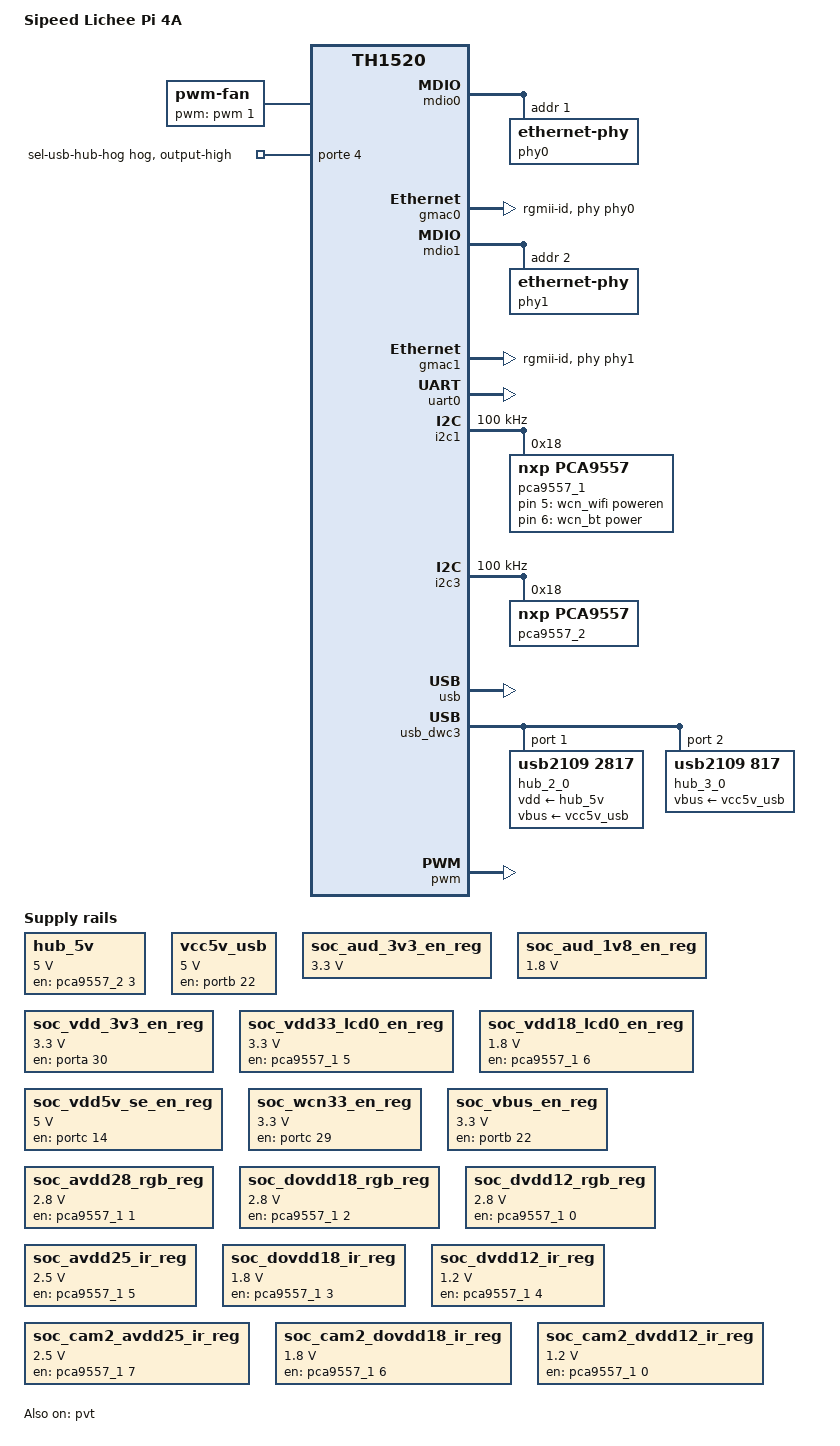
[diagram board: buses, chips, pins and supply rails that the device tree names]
// SPDX-License-Identifier: (GPL-2.0 OR MIT)
/*
 * Copyright (C) 2023 Jisheng Zhang <jszhang@kernel.org>
 */

#include <dt-bindings/gpio/gpio.h>

#include "th1520-lichee-module-4a.dtsi"

/ {
	model = "Sipeed Lichee Pi 4A";
	compatible = "sipeed,lichee-pi-4a", "sipeed,lichee-module-4a", "thead,th1520";

	aliases {
		ethernet0 = &gmac0;
		ethernet1 = &gmac1;
		gpio0 = &gpio0;
		gpio1 = &gpio1;
		gpio2 = &gpio2;
		gpio3 = &gpio3;
		serial0 = &uart0;
		serial1 = &uart1;
		serial2 = &uart2;
		serial3 = &uart3;
		serial4 = &uart4;
		serial5 = &uart5;
		i2c0 = &i2c0;
		i2c1 = &i2c1;
		i2c2 = &i2c2;
		i2c3 = &i2c3;
		i2c4 = &i2c4;
		i2c5 = &audio_i2c0;
		i2c6 = &audio_i2c1;
	};

	chosen {
		stdout-path = "serial0:115200n8";
	};

	fan: pwm-fan {
		compatible = "pwm-fan";
		#cooling-cells = <2>;
		pwms = <&pwm 1 10000000 0>;
		cooling-levels = <0 66 196 255>;
	};

	thermal-zones {
		cpu-thermal {
			polling-delay = <1000>;
			polling-delay-passive = <1000>;
			thermal-sensors = <&pvt 0>;

			trips {
				trip_active0: active-0 {
					temperature = <39000>;
					hysteresis = <5000>;
					type = "active";
				};

				trip_active1: active-1 {
					temperature = <50000>;
					hysteresis = <5000>;
					type = "active";
				};

				trip_active2: active-2 {
					temperature = <60000>;
					hysteresis = <5000>;
					type = "active";
				};
			};

			cooling-maps {
				map-active-0 {
					cooling-device = <&fan 1 1>;
					trip = <&trip_active0>;
				};

				map-active-1 {
					cooling-device = <&fan 2 2>;
					trip = <&trip_active1>;
				};

				map-active-2 {
					cooling-device = <&fan 3 3>;
					trip = <&trip_active2>;
				};
			};
		};
	};

	hub_5v: regulator-hub_5v {
		compatible = "regulator-fixed";
		regulator-name = "HUB_5V";
		regulator-min-microvolt = <5000000>;
		regulator-max-microvolt = <5000000>;
		gpio = <&pca9557_2 3 GPIO_ACTIVE_HIGH>;
		enable-active-high;
		regulator-always-on;
	};

	vcc5v_usb: regulator-vcc5v_usb {
		compatible = "regulator-fixed";
		regulator-name = "VCC5V_USB";
		regulator-min-microvolt = <5000000>;
		regulator-max-microvolt = <5000000>;
		gpio = <&portb 22 GPIO_ACTIVE_HIGH>;
		enable-active-high;
		regulator-always-on;
	};

	wcn_wifi: wireless-wlan {
		compatible = "wlan-platdata";
		clock-names = "clk_wifi";
		ref-clock-frequency = <24000000>;
		keep_wifi_power_on;
		pinctrl-names = "default";
		wifi_chip_type = "rtl8723ds";
		WIFI,poweren_gpio = <&pca9557_1 5 0>;
		status = "okay";
	};

	wcn_bt: wireless-bluetooth {
		compatible = "bluetooth-platdata";
		pinctrl-names = "default", "rts_gpio";
		BT,power_gpio    = <&pca9557_1 6 0>;
		status = "okay";
	};

	aon: aon {
		compatible = "thead,light-aon";
		mbox-names = "aon";
		mboxes = <&mbox_910t 1 0>;
		status = "okay";

		pd: light-aon-pd {
			compatible = "thead,light-aon-pd";
			#power-domain-cells = <1>;
		};

		soc_aud_3v3_en_reg: soc_aud_3v3_en {
			compatible = "regulator-fixed";
			regulator-name = "soc_aud_3v3_en";
			regulator-min-microvolt = <3300000>;
			regulator-max-microvolt = <3300000>;
			enable-active-high;
			regulator-always-on;
		};

		soc_aud_1v8_en_reg: soc_aud_1v8_en {
			compatible = "regulator-fixed";
			regulator-name = "soc_aud_1v8_en";
			regulator-min-microvolt = <1800000>;
			regulator-max-microvolt = <1800000>;
			enable-active-high;
			regulator-always-on;
		};

		soc_vdd_3v3_en_reg: soc_vdd_3v3_en {
			compatible = "regulator-fixed";
			regulator-name = "soc_vdd_3v3_en";
			regulator-min-microvolt = <3300000>;
			regulator-max-microvolt = <3300000>;
			gpio = <&porta 30 1>;
			enable-active-high;
			regulator-always-on;
		};

		soc_vdd33_lcd0_en_reg: soc_lcd0_vdd33_en {
			compatible = "regulator-fixed";
			regulator-name = "soc_lcd0_vdd33_en";
			regulator-min-microvolt = <3300000>;
			regulator-max-microvolt = <3300000>;
			gpio = <&pca9557_1 5 1>;
			enable-active-high;
		};

		soc_vdd18_lcd0_en_reg: soc_lcd0_vdd18_en {
			compatible = "regulator-fixed";
			regulator-name = "soc_lcd0_vdd18_en";
			regulator-min-microvolt = <1800000>;
			regulator-max-microvolt = <1800000>;
			gpio = <&pca9557_1 6 1>;
			enable-active-high;
		};

		soc_vdd5v_se_en_reg: soc_vdd5v_se_en {
			compatible = "regulator-fixed";
			regulator-name = "soc_vdd5v_se_en";
			regulator-min-microvolt = <5000000>;
			regulator-max-microvolt = <5000000>;
			gpio = <&portc 14 1>;
			enable-active-high;
			regulator-always-on;
		};

		soc_wcn33_en_reg: soc_wcn33_en {
			compatible = "regulator-fixed";
			regulator-name = "soc_wcn33_en";
			regulator-min-microvolt = <3300000>;
			regulator-max-microvolt = <3300000>;
			gpio = <&portc 29 1>;
			enable-active-high;
			regulator-always-on;
		};

		soc_vbus_en_reg: soc_vbus_en {
			compatible = "regulator-fixed";
			regulator-name = "soc_vbus_en";
			regulator-min-microvolt = <3300000>;
			regulator-max-microvolt = <3300000>;
			gpio = <&portb 22 1>;
			enable-active-high;
			regulator-always-on;
		};


		soc_avdd28_rgb_reg: soc_avdd28_rgb {
			compatible = "regulator-fixed";
			regulator-name = "soc_avdd28_rgb";
			regulator-min-microvolt = <2800000>;
			regulator-max-microvolt = <2800000>;
			gpio = <&pca9557_1 1 1>;
			enable-active-high;
		};

		soc_dovdd18_rgb_reg: soc_dovdd18_rgb {
			compatible = "regulator-fixed";
			regulator-name = "soc_dovdd18_rgb";
			regulator-min-microvolt = <2800000>;
			regulator-max-microvolt = <2800000>;
			gpio = <&pca9557_1 2 1>;
			enable-active-high;
		};

		soc_dvdd12_rgb_reg: soc_dvdd12_rgb {
			compatible = "regulator-fixed";
			regulator-name = "soc_dvdd12_rgb";
			regulator-min-microvolt = <2800000>;
			regulator-max-microvolt = <2800000>;
			gpio = <&pca9557_1 0 1>;
			enable-active-high;
		};

		soc_avdd25_ir_reg: soc_avdd25_ir {
			compatible = "regulator-fixed";
			regulator-name = "soc_avdd25_ir";
			regulator-min-microvolt = <2500000>;
			regulator-max-microvolt = <2500000>;
			gpio = <&pca9557_1 5 1>;
			enable-active-high;
		};

		soc_dovdd18_ir_reg: soc_dovdd18_ir {
			compatible = "regulator-fixed";
			regulator-name = "soc_dovdd18_ir";
			regulator-min-microvolt = <1800000>;
			regulator-max-microvolt = <1800000>;
			gpio = <&pca9557_1 3 1>;
			enable-active-high;
		};

		soc_dvdd12_ir_reg: soc_dvdd12_ir {
			compatible = "regulator-fixed";
			regulator-name = "soc_dvdd12_ir";
			regulator-min-microvolt = <1200000>;
			regulator-max-microvolt = <1200000>;
			gpio = <&pca9557_1 4 1>;
			enable-active-high;
		};

		soc_cam2_avdd25_ir_reg: soc_cam2_avdd25_ir {
			compatible = "regulator-fixed";
			regulator-name = "soc_cam2_avdd25_ir";
			regulator-min-microvolt = <2500000>;
			regulator-max-microvolt = <2500000>;
			gpio = <&pca9557_1 7 1>;
			enable-active-high;
		};

		soc_cam2_dovdd18_ir_reg: soc_cam2_dovdd18_ir {
			compatible = "regulator-fixed";
			regulator-name = "soc_cam2_dovdd18_ir";
			regulator-min-microvolt = <1800000>;
			regulator-max-microvolt = <1800000>;
			gpio = <&pca9557_1 6 1>;
			enable-active-high;
		};

		soc_cam2_dvdd12_ir_reg: soc_cam2_dvdd12_ir {
			compatible = "regulator-fixed";
			regulator-name = "soc_cam2_dvdd12_ir";
			regulator-min-microvolt = <1200000>;
			regulator-max-microvolt = <1200000>;
			gpio = <&pca9557_1 0 1>;
			enable-active-high;
		};

		aon_reg_dialog: light-dialog-reg {
			compatible = "thead,light-dialog-pmic-ant";
			status = "okay";

			dvdd_cpu_reg: appcpu_dvdd {
				regulator-name = "appcpu_dvdd";
				regulator-min-microvolt = <300000>;
				regulator-max-microvolt = <1570000>;
				regulator-boot-on;
				regulator-always-on;
			};

			dvddm_cpu_reg: appcpu_dvddm {
				regulator-name = "appcpu_dvddm";
				regulator-min-microvolt = <300000>;
				regulator-max-microvolt = <1570000>;
				regulator-boot-on;
				regulator-always-on;
			};

			soc_dvdd18_aon_reg: soc_dvdd18_aon {
				regulator-name = "soc_dvdd18_aon";
				regulator-boot-on;
				regulator-always-on;
			};

			soc_avdd33_usb3_reg: soc_avdd33_usb3 {
				regulator-name = "soc_avdd33_usb3";
				regulator-boot-on;
				regulator-always-on;
			};

			soc_dvdd08_aon_reg: soc_dvdd08_aon {
				regulator-name = "soc_dvdd08_aon";
				regulator-boot-on;
				regulator-always-on;
			};

			soc_dvdd08_ddr_reg: soc_dvdd08_ddr {
				regulator-name = "soc_dvdd08_ddr";
				regulator-boot-on;
				regulator-always-on;
			};

			soc_vdd_ddr_1v8_reg: soc_vdd_ddr_1v8 {
				regulator-name = "soc_vdd_ddr_1v8";
				regulator-boot-on;
				regulator-always-on;
			};

			soc_vdd_ddr_1v1_reg: soc_vdd_ddr_1v1 {
				regulator-name = "soc_vdd_ddr_1v1";
				regulator-boot-on;
				regulator-always-on;
			};

			soc_vdd_ddr_0v6_reg: soc_vdd_ddr_0v6 {
				regulator-name = "soc_vdd_ddr_0v6";
				regulator-boot-on;
				regulator-always-on;
			};

			soc_dvdd18_ap_reg: soc_dvdd18_ap {
				regulator-name = "soc_dvdd18_ap";
				regulator-boot-on;
				regulator-always-on;
			};

			soc_avdd08_mipi_hdmi_reg: soc_avdd08_mipi_hdmi {
				regulator-name = "soc_avdd08_mipi_hdmi";
				regulator-boot-on;
				regulator-always-on;
			};

			soc_avdd18_mipi_hdmi_reg: soc_avdd18_mipi_hdmi {
				regulator-name = "soc_avdd18_mipi_hdmi";
				regulator-boot-on;
				regulator-always-on;
			};

			soc_vdd33_emmc_reg: soc_vdd33_emmc {
				regulator-name = "soc_vdd33_emmc";
				regulator-boot-on;
				regulator-always-on;
			};

			soc_vdd18_emmc_reg: soc_vdd18_emmc {
				regulator-name = "soc_vdd18_emmc";
				regulator-boot-on;
				regulator-always-on;
			};

			soc_dovdd18_scan_reg: soc_dovdd18_scan {
				regulator-name = "soc_dovdd18_scan";
				regulator-min-microvolt = <900000>;
				regulator-max-microvolt = <3600000>;
			};

			soc_dvdd12_scan_reg: soc_dvdd12_scan {
				regulator-name = "soc_dvdd12_scan";
				regulator-min-microvolt = <900000>;
				regulator-max-microvolt = <3600000>;
			};

			soc_avdd28_scan_en_reg: soc_avdd28_scan_en {
				regulator-name = "soc_avdd28_scan_en";
				regulator-min-microvolt = <900000>;
				regulator-max-microvolt = <3600000>;
			};

		};

		c910_cpufreq {
			compatible = "thead,light-mpw-cpufreq";
			status = "okay";
		};

		test: light-aon-test {
			compatible = "thead,light-aon-test";
		};
	};
	
};

&mdio0 {
	phy0: ethernet-phy@1 {
		reg = <1>;
	};
};

&gmac0 {
	phy-handle = <&phy0>;
	phy-mode = "rgmii-id";
	status = "okay";
};

&mdio1 {
	phy1: ethernet-phy@2 {
		reg = <2>;
	};
};

&gmac1 {
	phy-handle = <&phy1>;
	phy-mode = "rgmii-id";
	status = "okay";
};

&uart0 {
	status = "okay";
};

&i2c1 {
	clock-frequency = <100000>;
	i2c-sda-hold-time-ns = <300>;
	i2c-sda-falling-time-ns = <510>;
	i2c-scl-falling-time-ns = <510>;
	status = "okay";

	pca9557_1: gpio@18 {
		compatible = "nxp,pca9557";
		reg = <0x18>;
		gpio-controller;
		#gpio-cells = <2>;
	};
};

&i2c3 {
	clock-frequency = <100000>;
	i2c-sda-hold-time-ns = <300>;
	i2c-sda-falling-time-ns = <510>;
	i2c-scl-falling-time-ns = <510>;
	status = "okay";

	pca9557_2: gpio@18 {
		compatible = "nxp,pca9557";
		reg = <0x18>;
		gpio-controller;
		#gpio-cells = <2>;
	};
};

&porte {
	sel-usb-hub-hog {
		gpio-hog;
		gpios = <4 GPIO_ACTIVE_HIGH>;
		output-high;
	};
};

&usb {
	status = "okay";
};

&usb_dwc3 {
	status = "okay";
	#address-cells = <1>;
	#size-cells = <0>;

	hub_2_0: hub@1 {
		compatible = "usb2109,2817";
		reg = <1>;
		peer-hub = <&hub_3_0>;
		vdd-supply = <&hub_5v>;
		vbus-supply = <&vcc5v_usb>;
	};

	hub_3_0: hub@2 {
		compatible = "usb2109,817";
		reg = <2>;
		peer-hub = <&hub_2_0>;
		vbus-supply = <&vcc5v_usb>;
	};
};

&pvt {
	status = "okay";
};

&pwm {
	status = "okay";
};
